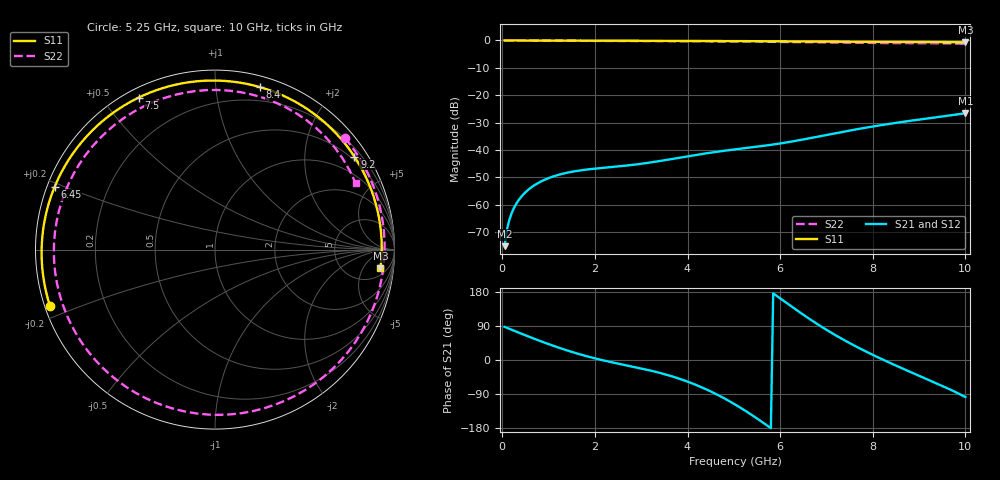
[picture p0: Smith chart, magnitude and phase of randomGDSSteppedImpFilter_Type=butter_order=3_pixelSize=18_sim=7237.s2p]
! freq	dB(S11)	phase(S11)	dB(S12)	phase(S12)
!  dB(S21)	phase(S21)	dB(S22)	phase(S22)
!S-par simulation data
#  GHz  S  DB  R 50
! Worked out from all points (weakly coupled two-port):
!   200 points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, 50 MHz to 10 GHz, reference 50 ohm
!   highest |S21| = -26.62 dB at 10 GHz (marker M1); lowest = -75.1 dB at 50 MHz (marker M2)
!   lowest |S11| = -0.7 dB at 10 GHz (marker M3), VSWR 26.63, Z = 415 - j615 ohm
!   |S11| at or under -10 dB: nowhere
!   |S22| runs from -1.2 to 0.0 dB; largest |S21 - S12| = 0
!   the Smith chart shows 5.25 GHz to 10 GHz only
!   S11 on the Smith chart (normalised r, x): 5.25 GHz: 0.01, -0.17; 6.45 GHz: 0.02, +0.19; 7.5 GHz: 0.04, +0.62; 8.4 GHz: 0.09, +1.31; 9.2 GHz: 0.40, +3.26; 10 GHz: 8, -12
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0.05  -0.00 -1.7  -75.10 87.4  -75.10 87.4  -0.00 -3.5
0.1  -0.00 -3.3  -69.10 84.9  -69.10 84.9  -0.01 -6.9
0.2  -0.01 -6.5  -63.13 79.9  -63.13 79.9  -0.02 -13.7
0.5  -0.02 -16.3  -55.43 65.1  -55.43 65.1  -0.04 -33.8
1.1  -0.05 -35.5  -49.65 37.5  -49.65 37.5  -0.09 -72.6
1.75  -0.07 -55.9  -47.29 12.4  -47.29 12.4  -0.12 -111.4
2.6  -0.10 -81.9  -45.83 -12.1  -45.83 -12.1  -0.17 -158.2
3.4  -0.14 -105.6  -44.02 -34.0  -44.02 -34.0  -0.21 158.5
4.3  -0.19 -132.2  -41.48 -71.8  -41.48 -71.8  -0.28 105.8
5.05  -0.24 -154.8  -39.72 -119.1  -39.72 -119.1  -0.37 55.2
5.25  -0.25 -161.0  -39.31 -134.2  -39.31 -134.2  -0.40 40.6
5.85  -0.30 179.5  -38.00 175.8  -38.00 175.8  -0.50 -5.6
6.45  -0.36 158.6  -36.30 123.6  -36.30 123.6  -0.62 -53.2
6.7  -0.39 149.3  -35.48 103.0  -35.48 103.0  -0.67 -72.9
7.1  -0.43 133.5  -34.16 72.3  -34.16 72.3  -0.76 -103.8
7.5  -0.47 116.6  -32.89 44.6  -32.89 44.6  -0.83 -134.1
7.95  -0.51 96.2  -31.56 16.5  -31.56 16.5  -0.91 -167.6
8.35  -0.54 76.9  -30.47 -6.4  -30.47 -6.4  -0.96 162.6
8.4  -0.54 74.4  -30.34 -9.2  -30.34 -9.2  -0.97 158.8
9.2  -0.60 33.7  -28.43 -52.2  -28.43 -52.2  -1.01 97.1
9.6  -0.62 13.3  -27.53 -73.9  -27.53 -73.9  -1.06 63.7
10  -0.65 -6.4  -26.62 -97.8  -26.62 -97.8  -1.24 25.2
